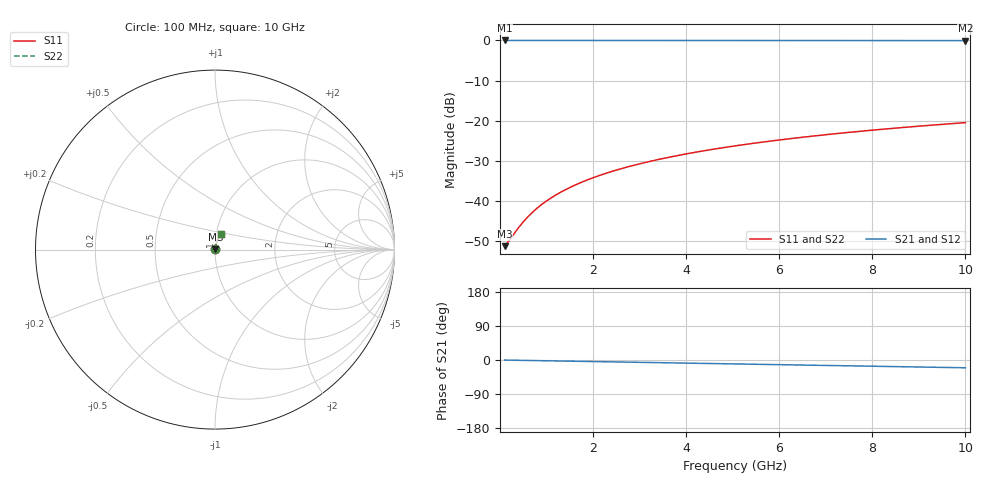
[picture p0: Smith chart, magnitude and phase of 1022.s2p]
# Hz S RI R 50.00
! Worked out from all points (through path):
!   100 points, 100 MHz to 10 GHz, reference 50 ohm
!   highest |S21| = -0.02 dB at 100 MHz (marker M1); lowest = -0.1 dB at 10 GHz (marker M2)
!   group delay of S21, straight-line fit = 5.7 ps
!   lowest |S11| = -51.3 dB at 100 MHz (marker M3), VSWR 1.01, Z = 50.3 + j0.096 ohm
!   |S11| at or under -10 dB: start of sweep to end of sweep
!   |S22| runs from -51.3 to -20.5 dB; largest |S21 - S12| = 0
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1e8  0.00256 0.000955  0.9974 -0.00356  0.9974 -0.00356  0.00256 0.000955
2e8  0.00259 0.00191  0.9974 -0.00713  0.9974 -0.00713  0.00259 0.00191
4e8  0.00265 0.00382  0.9973 -0.0143  0.9973 -0.0143  0.00265 0.00382
5e8  0.00269 0.00477  0.9972 -0.0178  0.9972 -0.0178  0.00269 0.00477
6e8  0.00273 0.00573  0.9971 -0.0214  0.9971 -0.0214  0.00273 0.00573
7e8  0.00278 0.00668  0.997 -0.025  0.997 -0.025  0.00278 0.00668
8e8  0.00284 0.00763  0.9969 -0.0285  0.9969 -0.0285  0.00284 0.00763
1e9  0.00297 0.00954  0.9967 -0.0356  0.9967 -0.0356  0.00297 0.00954
1.2e9  0.00313 0.0114  0.9963 -0.0428  0.9963 -0.0428  0.00313 0.0114
1.5e9  0.00342 0.0143  0.9958 -0.0534  0.9958 -0.0534  0.00342 0.0143
1.8e9  0.00376 0.0171  0.9951 -0.0641  0.9951 -0.0641  0.00376 0.0171
2.1e9  0.00417 0.02  0.9943 -0.0748  0.9943 -0.0748  0.00417 0.02
2.5e9  0.00481 0.0237  0.993 -0.089  0.993 -0.089  0.00481 0.0237
2.9e9  0.00555 0.0275  0.9915 -0.1032  0.9915 -0.1032  0.00555 0.0275
3.4e9  0.00663 0.0321  0.9893 -0.1209  0.9893 -0.1209  0.00663 0.0321
4.2e9  0.00869 0.0395  0.9852 -0.1491  0.9852 -0.1491  0.00869 0.0395
5.1e9  0.0115 0.0476  0.9794 -0.1808  0.9794 -0.1808  0.0115 0.0476
5.9e9  0.0145 0.0546  0.9734 -0.2087  0.9734 -0.2087  0.0145 0.0546
6.7e9  0.0178 0.0615  0.9666 -0.2364  0.9666 -0.2364  0.0178 0.0615
7.5e9  0.0216 0.0681  0.9589 -0.2639  0.9589 -0.2639  0.0216 0.0681
8.4e9  0.0262 0.0754  0.9492 -0.2946  0.9492 -0.2946  0.0262 0.0754
1e10  0.0356 0.0875  0.9295 -0.3481  0.9295 -0.3481  0.0356 0.0875
